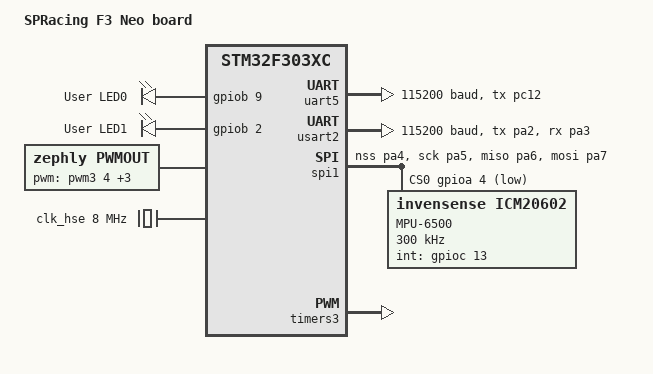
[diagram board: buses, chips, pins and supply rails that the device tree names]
/*
 * Copyright (c) 2022 Jonathan Hahn
 *
 * SPDX-License-Identifier: Apache-2.0
 */

/dts-v1/;
#include <st/f3/stm32f303Xc.dtsi>
#include <st/f3/stm32f303r(b-c)tx-pinctrl.dtsi>

/ {
	model = "SPRacing F3 Neo board";
	compatible = "spracing,f3neo";

	soc {
		uart5: serial@40005000 {
			compatible = "st,stm32-uart";
			reg = <0x40005000 0x400>;
			clocks = <&rcc STM32_CLOCK_BUS_APB1 0x00100000>;
			interrupts = <53 0>;
			current-speed = <115200>;
			pinctrl-0 = <&uart5_tx_pc12>;
			pinctrl-names = "default";
			status = "okay";
			label = "UART_5";
		};
	};

    chosen {
		zephyr,console = &uart5;
		zephyr,shell-uart = &uart5;
		zephyr,sram = &sram0;
        zephyr,flash = &flash0;
    };

    leds {
        compatible = "gpio-leds";
		status = "okay";
        led_0: led_0 {
            gpios = <&gpiob 9 (GPIO_LINE_OPEN_DRAIN | GPIO_ACTIVE_HIGH)>;
			label = "User LED0";
			status = "okay";
        };
        led_1: led_1 {
            gpios = <&gpiob 2 (GPIO_LINE_OPEN_DRAIN | GPIO_ACTIVE_HIGH)>;
			label = "User LED1";
			status = "okay";
        };
    };

	aliases {
		led0 = &led_0;
		led1 = &led_1;
	};

	pwmout: pwmout {
		compatible = "zephly,pwmout";
		pwms = <&pwm3 4 0 0>, <&pwm3 2 0 0>, <&pwm3 3 0 0>, <&pwm3 1 0 0>;
		label = "PWMOUT";
		status = "okay";
	};
};

&clk_hse {
	clock-frequency = <DT_FREQ_M(8)>;
	status = "okay";
};

&pll {
	prediv = <1>;
	mul = <9>;
	clocks = <&clk_hse>;
	status = "okay";
};

&rcc {
	clocks = <&pll>;
	clock-frequency = <DT_FREQ_M(72)>;
	ahb-prescaler = <1>;
	apb1-prescaler = <2>;
	apb2-prescaler = <1>;
};

&usart2 {
	pinctrl-0 = <&usart2_tx_pa2 &usart2_rx_pa3>;
	pinctrl-names = "default";
	current-speed = < 115200 >;
    parity = "even";
    rx-invert;
	status = "okay";
	rc: sbus {
        compatible = "futaba,sbusreceiver";
        label = "RECEIVER0";
        status = "disabled";
    };
};

&spi1 {
	pinctrl-0 = <&spi1_nss_pa4 &spi1_sck_pa5
		     &spi1_miso_pa6 &spi1_mosi_pa7>;
	cs-gpios = <&gpioa 4 GPIO_ACTIVE_LOW>;
	pinctrl-names = "default";
	status = "okay";

	imu: mpu6500@0 {
		compatible = "invensense,icm20602";
		reg = <0>;
		spi-max-frequency = < DT_FREQ_K(300) >;
		int-gpios = <&gpioc 13 GPIO_ACTIVE_HIGH>;
		label = "MPU-6500";
		status = "okay";
	};
};

&timers3 {
	status = "okay";
	st,prescaler = <72>;
	pwm3: pwm {
		status = "okay";
		pinctrl-0 = <&tim3_ch1_pc6 &tim3_ch2_pc7 &tim3_ch3_pb0 &tim3_ch4_pb1>;
		pinctrl-names = "default";
	};
};
